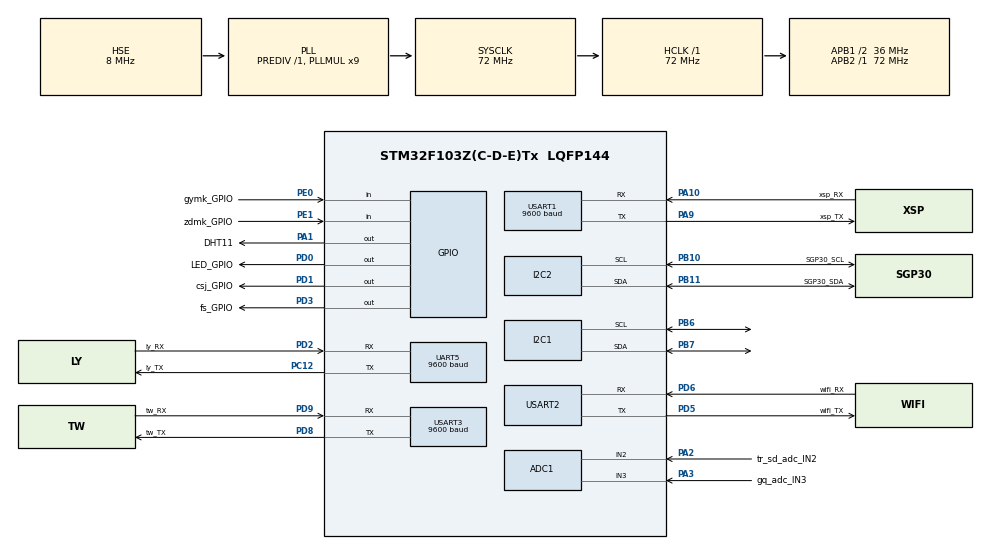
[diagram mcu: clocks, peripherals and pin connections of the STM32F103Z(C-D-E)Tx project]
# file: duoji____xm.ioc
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ADC1.Channel-0\#ChannelRegularConversion=ADC_CHANNEL_2
ADC1.Channel-1\#ChannelRegularConversion=ADC_CHANNEL_3
ADC1.ContinuousConvMode=ENABLE
ADC1.ExternalTrigConv=ADC_SOFTWARE_START
ADC1.NbrOfConversion=2
ADC1.NbrOfConversionFlag=1
ADC1.Rank-0\#ChannelRegularConversion=1
ADC1.Rank-1\#ChannelRegularConversion=2
ADC1.SamplingTime-0\#ChannelRegularConversion=ADC_SAMPLETIME_55CYCLES_5
ADC1.SamplingTime-1\#ChannelRegularConversion=ADC_SAMPLETIME_55CYCLES_5
ADC1.master=1
Dma.ADC1.0.Direction=DMA_PERIPH_TO_MEMORY
Dma.ADC1.0.Instance=DMA1_Channel1
Dma.ADC1.0.MemDataAlignment=DMA_MDATAALIGN_HALFWORD
Dma.ADC1.0.MemInc=DMA_MINC_ENABLE
Dma.ADC1.0.Mode=DMA_NORMAL
Dma.ADC1.0.PeriphDataAlignment=DMA_PDATAALIGN_HALFWORD
Dma.ADC1.0.PeriphInc=DMA_PINC_DISABLE
Dma.ADC1.0.Priority=DMA_PRIORITY_LOW
Dma.Request0=ADC1
FREERTOS.Mutexes01=esp8266_x_01,Dynamic,NULL,Available
FREERTOS.Queues01=Kal_wd,16,float,0,Dynamic,NULL,NULL;Kal_sd,16,float,0,Dynamic,NULL,NULL;Kal_trsd,16,float,0,Dynamic,NULL,NULL;Kal_gq,16,float,0,Dynamic,NULL,NULL;Kal_co2,16,uint16_t,0,Dynamic,NULL,NULL;zw_key,16,uint8_t,0,Dynamic,NULL,NULL;tw_key,16,uint8_t,0,Dynamic,NULL,NULL;zt_fs,16,uint8_t,0,Dynamic,NULL,NULL;zt_bg,16,uint8_t,0,Dynamic,NULL,NULL;zt_sb,16,uint8_t,0,Dynamic,NULL,NULL;tw_fs,16,uint8_t,0,Dynamic,NULL,NULL;tw_bg,16,uint8_t,0,Dynamic,NULL,NULL;tw_sb,16,uint8_t,0,Dynamic,NULL,NULL;ESP8266_fs,16,uint8_t,0,Dynamic,NULL,NULL;ESP8266_bg,16,uint8_t,0,Dynamic,NULL,NULL;ESP8266_sb,16,uint8_t,0,Dynamic,NULL,NULL
FREERTOS.Tasks01=cgq_01,40,1024,StartDefaultTask,Default,NULL,Dynamic,NULL,NULL;ztcl_02,40,1024,StartTask02,Default,NULL,Dynamic,NULL,NULL;usart_03,32,1024,StartTask03,Default,NULL,Dynamic,NULL,NULL;twkz_04,32,1024,StartTask04,Default,NULL,Dynamic,NULL,NULL;ESP8266_05,41,1024,StartTask05,Default,NULL,Dynamic,NULL,NULL;jdq_06,40,256,StartTask06,Default,NULL,Dynamic,NULL,NULL;UI_OLED_07,8,256,StartTask07,Default,NULL,Dynamic,NULL,NULL
FREERTOS.configTOTAL_HEAP_SIZE=40960
Mcu.Family=STM32F1
Mcu.Name=STM32F103Z(C-D-E)Tx
Mcu.Package=LQFP144
NVIC.DMA1_Channel1_IRQn=true\:5\:0\:false\:false\:true\:true\:false\:true\:true
NVIC.PriorityGroup=NVIC_PRIORITYGROUP_4
NVIC.RTC_IRQn=true\:5\:0\:false\:false\:true\:true\:true\:true\:true
NVIC.TIM3_IRQn=true\:5\:0\:false\:false\:true\:true\:true\:true\:true
NVIC.TIM4_IRQn=true\:15\:0\:false\:false\:true\:false\:false\:true\:true
NVIC.TimeBase=TIM4_IRQn
NVIC.TimeBaseIP=TIM4
NVIC.UART5_IRQn=true\:5\:0\:false\:false\:true\:true\:true\:true\:true
NVIC.USART1_IRQn=true\:5\:0\:true\:false\:true\:true\:true\:true\:true
NVIC.USART2_IRQn=true\:5\:0\:false\:false\:true\:true\:true\:true\:true
NVIC.USART3_IRQn=true\:5\:0\:true\:false\:true\:true\:true\:true\:true
OSC_IN.Mode=HSE-External-Oscillator
OSC_IN.Signal=RCC_OSC_IN
OSC_OUT.Mode=HSE-External-Oscillator
OSC_OUT.Signal=RCC_OSC_OUT
PA1.GPIO_Label=DHT11
PA1.Signal=GPIO_Output
PA10.GPIO_Label=xsp_RX
PA10.Mode=Asynchronous
PA10.Signal=USART1_RX
PA13.Mode=Serial_Wire
PA13.Signal=SYS_JTMS-SWDIO
PA14.Mode=Serial_Wire
PA14.Signal=SYS_JTCK-SWCLK
PA2.GPIO_Label=tr_sd_adc_IN2
PA2.Signal=ADCx_IN2
PA3.GPIO_Label=gq_adc_IN3
PA3.Signal=ADCx_IN3
PA9.GPIO_Label=xsp_TX
PA9.Mode=Asynchronous
PA9.Signal=USART1_TX
PB10.GPIO_Label=SGP30_SCL
PB10.Mode=I2C
PB10.Signal=I2C2_SCL
PB11.GPIO_Label=SGP30_SDA
PB11.Mode=I2C
PB11.Signal=I2C2_SDA
PB6.Mode=I2C
PB6.Signal=I2C1_SCL
PB7.Mode=I2C
PB7.Signal=I2C1_SDA
PC12.GPIO_Label=ly_TX
PC12.Mode=Asynchronous
PC12.Signal=UART5_TX
PC14-OSC32_IN.Mode=LSE-External-Oscillator
PC14-OSC32_IN.Signal=RCC_OSC32_IN
PC15-OSC32_OUT.Mode=LSE-External-Oscillator
PC15-OSC32_OUT.Signal=RCC_OSC32_OUT
PD0.GPIO_Label=LED_GPIO
PD0.GPIO_ModeDefaultOutputPP=GPIO_MODE_OUTPUT_OD
PD0.GPIO_PuPd=GPIO_NOPULL
PD0.GPIO_Speed=GPIO_SPEED_FREQ_HIGH
PD0.PinState=GPIO_PIN_SET
PD0.Signal=GPIO_Output
PD1.GPIO_Label=csj_GPIO
PD1.GPIO_ModeDefaultOutputPP=GPIO_MODE_OUTPUT_OD
PD1.GPIO_PuPd=GPIO_NOPULL
PD1.GPIO_Speed=GPIO_SPEED_FREQ_HIGH
PD1.PinState=GPIO_PIN_SET
PD1.Signal=GPIO_Output
PD2.GPIO_Label=ly_RX
PD2.Mode=Asynchronous
PD2.Signal=UART5_RX
PD3.GPIO_Label=fs_GPIO
PD3.GPIO_ModeDefaultOutputPP=GPIO_MODE_OUTPUT_OD
PD3.GPIO_PuPd=GPIO_NOPULL
PD3.PinState=GPIO_PIN_SET
PD3.Signal=GPIO_Output
PD5.GPIO_Label=wifi_TX
PD5.Mode=Asynchronous
PD5.Signal=USART2_TX
PD6.GPIO_Label=wifi_RX
PD6.Mode=Asynchronous
PD6.Signal=USART2_RX
PD8.GPIO_Label=tw_TX
PD8.Mode=Asynchronous
PD8.Signal=USART3_TX
PD9.GPIO_Label=tw_RX
PD9.Mode=Asynchronous
PD9.Signal=USART3_RX
PE0.GPIO_Label=gymk_GPIO
PE0.GPIO_PuPd=GPIO_PULLDOWN
PE0.Signal=GPIO_Input
PE1.GPIO_Label=zdmk_GPIO
PE1.GPIO_PuPd=GPIO_PULLDOWN
PE1.Signal=GPIO_Input
ProjectManager.HeapSize=0x200
ProjectManager.StackSize=0x400
ProjectManager.TargetToolchain=MDK-ARM V5.32
RCC.ADCPresc=RCC_ADCPCLK2_DIV6
RCC.AHBFreq_Value=72000000
RCC.APB1CLKDivider=RCC_HCLK_DIV2
RCC.APB1Freq_Value=36000000
RCC.APB1TimFreq_Value=72000000
RCC.APB2Freq_Value=72000000
RCC.APB2TimFreq_Value=72000000
RCC.HCLKFreq_Value=72000000
RCC.PLLMUL=RCC_PLL_MUL9
RCC.PLLSourceVirtual=RCC_PLLSOURCE_HSE
RCC.SYSCLKFreq_VALUE=72000000
RCC.SYSCLKSource=RCC_SYSCLKSOURCE_PLLCLK
RCC.USBFreq_Value=72000000
RTC.Date=24
RTC.Hours=4
RTC.Minutes=37
RTC.Month=RTC_MONTH_APRIL
RTC.WeekDay=RTC_WEEKDAY_THURSDAY
RTC.Year=21
SH.ADCx_IN2.0=ADC1_IN2,IN2
SH.ADCx_IN3.0=ADC1_IN3,IN3
TIM2.Prescaler=72-1
TIM3.AutoReloadPreload=TIM_AUTORELOAD_PRELOAD_ENABLE
TIM3.Period=9999
TIM3.Prescaler=7199
UART5.BaudRate=9600
UART5.VirtualMode=Asynchronous
USART1.BaudRate=9600
USART1.VirtualMode=VM_ASYNC
USART2.VirtualMode=VM_ASYNC
USART3.BaudRate=9600
USART3.VirtualMode=VM_ASYNC
VP_FREERTOS_VS_CMSIS_V2.Mode=CMSIS_V2
VP_RTC_No_RTC_Output.Mode=RTC_OUT_NO
VP_RTC_VS_RTC_Activate.Mode=RTC_Enabled
VP_RTC_VS_RTC_Calendar.Mode=RTC_Calendar
VP_SYS_VS_tim4.Mode=TIM4
VP_TIM2_VS_ClockSourceINT.Mode=Internal
VP_TIM3_VS_ClockSourceINT.Mode=Internal
board=custom

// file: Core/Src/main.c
/* USER CODE BEGIN Header */
/**
  ******************************************************************************
  * @file           : main.c
  * @brief          : Main program body
  ******************************************************************************
  * @attention
  *
  * Copyright (c) 2024 STMicroelectronics.
  * All rights reserved.
  *
  * This software is licensed under terms that can be found in the LICENSE file
  * in the root directory of this software component.
  * If no LICENSE file comes with this software, it is provided AS-IS.
  *
  ******************************************************************************
  */

/* USER CODE END Header */
#include "main.h"
#include "cmsis_os.h"
#include "adc.h"
#include "dma.h"
#include "i2c.h"
#include "rtc.h"
#include "tim.h"
#include "usart.h"
#include "gpio.h"

/* USER CODE BEGIN Includes */
#include "oled.h"
#include "wifi.h"
#include "tjc_usart_hmi.h"
#include "stdio.h"
#include "dht11.h"
#include "adc_2.h"
#include "sgp30.h"
#include "jdq.h"
#include "string.h"
#include "stm32f1xx_hal_pwr.h"
#include "stm32f1xx_hal_rtc.h"
#include  <stdlib.h>
#include <Kal_lb.h>
#include <math.h>
//#include <algorithm>
#define FRAME_LENGTH 7
/* USER CODE END Includes */

/* USER CODE BEGIN PD */

void SystemClock_Config(void);
void MX_FREERTOS_Init(void);
/* USER CODE BEGIN PFP */

/* USER CODE END PD */

void SystemClock_Config(void);
void MX_FREERTOS_Init(void);
/* USER CODE BEGIN PFP */

/* USER CODE END PD */

/* Private macro -------------------------------------------------------------*/
/* USER CODE BEGIN PM */

/* USER CODE END PM */

/* Private variables ---------------------------------------------------------*/

/* USER CODE BEGIN PV */

/* USER CODE END PV */

/* Private function prototypes -----------------------------------------------*/
void SystemClock_Config(void);
void MX_FREERTOS_Init(void);
/* USER CODE BEGIN PFP */

/* USER CODE END PD */

/* Private macro -------------------------------------------------------------*/
/* USER CODE BEGIN PM */

/* USER CODE END PM */

/* Private variables ---------------------------------------------------------*/

/* USER CODE BEGIN PV */

/* USER CODE END PV */

/* Private function prototypes -----------------------------------------------*/
void SystemClock_Config(void);
void MX_FREERTOS_Init(void);
/* USER CODE BEGIN PFP */

/* USER CODE END PD */

/* Private macro -------------------------------------------------------------*/
/* USER CODE BEGIN PM */

/* USER CODE END PM */

/* Private variables ---------------------------------------------------------*/

/* USER CODE BEGIN PV */

/* USER CODE END PV */

/* Private function prototypes -----------------------------------------------*/
void SystemClock_Config(void);
void MX_FREERTOS_Init(void);
/* USER CODE BEGIN PFP */

/* USER CODE END PD */

/* Private macro -------------------------------------------------------------*/
/* USER CODE BEGIN PM */

/* USER CODE END PM */

/* Private variables ---------------------------------------------------------*/

/* USER CODE BEGIN PV */

/* USER CODE END PV */

/* Private function prototypes -----------------------------------------------*/
void SystemClock_Config(void);
void MX_FREERTOS_Init(void);
/* USER CODE BEGIN PFP */

/* USER CODE END PD */

/* Private macro -------------------------------------------------------------*/
/* USER CODE BEGIN PM */

/* USER CODE END PM */

/* Private variables ---------------------------------------------------------*/

/* USER CODE BEGIN PV */

/* USER CODE END PV */

/* Private function prototypes -----------------------------------------------*/
void SystemClock_Config(void);
void MX_FREERTOS_Init(void);
/* USER CODE BEGIN PFP */

/* USER CODE END PD */

/* Private macro -------------------------------------------------------------*/
/* USER CODE BEGIN PM */

/* USER CODE END PM */

/* Private variables ---------------------------------------------------------*/

/* USER CODE BEGIN PV */

/* USER CODE END PV */

/* Private function prototypes -----------------------------------------------*/
void SystemClock_Config(void);
void MX_FREERTOS_Init(void);
/* USER CODE BEGIN PFP */

/* USER CODE END PD */

/* Private macro -------------------------------------------------------------*/
/* USER CODE BEGIN PM */

/* USER CODE END PM */

/* Private variables ---------------------------------------------------------*/

/* USER CODE BEGIN PV */

/* USER CODE END PV */

/* Private function prototypes -----------------------------------------------*/

/* USER CODE END PFP */

int main(void)
{

  /* MCU Configuration--------------------------------------------------------*/

  /* Reset of all peripherals, Initializes the Flash interface and the Systick. */
  HAL_Init();

  /* Configure the system clock */
  SystemClock_Config();

  /* Initialize all configured peripherals */
  MX_GPIO_Init();
  MX_DMA_Init();
  MX_USART2_UART_Init();
  MX_USART1_UART_Init();
  MX_I2C1_Init();
  MX_TIM2_Init();
  MX_ADC1_Init();
  MX_I2C2_Init();
  MX_USART3_UART_Init();
  MX_TIM3_Init();
  MX_RTC_Init();
  MX_UART5_Init();
  /* USER CODE BEGIN 2 */
  //HAL_TIM_Base_Start_IT(&htim3);//打开定时器3中断

	//  DHT11_Init();//初始化温湿度传感器
	//  HAL_ADCEx_Calibration_Start(&hadc1 );//adc校准
  //  HAL_ADC_Start_DMA(&hadc1, (uint32_t *)My_adcData, adc_max);//光敏和土壤湿度传感器
	//  sgp30_init();//sgp30初始化

	//  HAL_UART_Init(&huart1);

	 //ESP8266_Init();//热点连接
   //check_and_reboot();//重启函数(稳定连接服务器（2次重新连接）)

  /* USER CODE END 2 */

  /* Init scheduler */
  osKernelInitialize();

  /* Call init function for freertos objects (in cmsis_os2.c) */
  MX_FREERTOS_Init();

  /* Start scheduler */
  osKernelStart();

  /* We should never get here as control is now taken by the scheduler */

  /* Infinite loop */
  while (1)
  {

    /* USER CODE BEGIN 3 */
   //		time++;

	 // cgq_sz();//传感器读取函数(处理分析)

		//ck_fs(dsq_fs,zt_fs);//发送串口消息（ESP8266和天问模块）

		//tw_kz(tw_bz);//天问模块控制

    //wifi_cl((char*)wifi_string);//物联网WiFi数据处理

		//jdq_pos_wifi(sb_num,bg_num,fs_num);//继电器控制开关

		//OLED_UI();//OLED屏显

  }
  /* USER CODE END 3 */
}

void SystemClock_Config(void)
{
  RCC_OscInitTypeDef RCC_OscInitStruct = {0};
  RCC_ClkInitTypeDef RCC_ClkInitStruct = {0};
  RCC_PeriphCLKInitTypeDef PeriphClkInit = {0};

  /** Initializes the RCC Oscillators according to the specified parameters
  * in the RCC_OscInitTypeDef structure.
  */
  RCC_OscInitStruct.OscillatorType = RCC_OSCILLATORTYPE_LSI|RCC_OSCILLATORTYPE_HSE;
  RCC_OscInitStruct.HSEState = RCC_HSE_ON;
  RCC_OscInitStruct.HSEPredivValue = RCC_HSE_PREDIV_DIV1;
  RCC_OscInitStruct.HSIState = RCC_HSI_ON;
  RCC_OscInitStruct.LSIState = RCC_LSI_ON;
  RCC_OscInitStruct.PLL.PLLState = RCC_PLL_ON;
  RCC_OscInitStruct.PLL.PLLSource = RCC_PLLSOURCE_HSE;
  RCC_OscInitStruct.PLL.PLLMUL = RCC_PLL_MUL9;
  if (HAL_RCC_OscConfig(&RCC_OscInitStruct) != HAL_OK)
  {
    Error_Handler();
  }

  /** Initializes the CPU, AHB and APB buses clocks
  */
  RCC_ClkInitStruct.ClockType = RCC_CLOCKTYPE_HCLK|RCC_CLOCKTYPE_SYSCLK
                              |RCC_CLOCKTYPE_PCLK1|RCC_CLOCKTYPE_PCLK2;
  RCC_ClkInitStruct.SYSCLKSource = RCC_SYSCLKSOURCE_PLLCLK;
  RCC_ClkInitStruct.AHBCLKDivider = RCC_SYSCLK_DIV1;
  RCC_ClkInitStruct.APB1CLKDivider = RCC_HCLK_DIV2;
  RCC_ClkInitStruct.APB2CLKDivider = RCC_HCLK_DIV1;

  if (HAL_RCC_ClockConfig(&RCC_ClkInitStruct, FLASH_LATENCY_2) != HAL_OK)
  {
    Error_Handler();
  }
  PeriphClkInit.PeriphClockSelection = RCC_PERIPHCLK_RTC|RCC_PERIPHCLK_ADC;
  PeriphClkInit.RTCClockSelection = RCC_RTCCLKSOURCE_LSI;
  PeriphClkInit.AdcClockSelection = RCC_ADCPCLK2_DIV6;
  if (HAL_RCCEx_PeriphCLKConfig(&PeriphClkInit) != HAL_OK)
  {
    Error_Handler();
  }
}

void HAL_TIM_PeriodElapsedCallback(TIM_HandleTypeDef *htim)
{
  if (htim->Instance == TIM4) {
    HAL_IncTick();
  }
  /* USER CODE BEGIN Callback 1 */
  // if(htim == &htim3)
	// {
	// 	dsj_tim3++;
	// 	if(dsj_tim3>50)
	// 	{
	// 	 dsq_fs=1;
	// 	 dsj_tim3=0;
	// 	}
	// 	else if(dsj_tim3==30)
	// 	{
	// 	 dsq_fs=2;
	// 	}
	// }
  /* USER CODE END Callback 1 */
}

void Error_Handler(void)
{
  __disable_irq();
  while (1)
  {
  }
}

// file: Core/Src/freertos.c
/* USER CODE BEGIN Header */
/**
  ******************************************************************************
  * File Name          : freertos.c
  * Description        : Code for freertos applications
  ******************************************************************************
  * @attention
  *
  * Copyright (c) 2025 STMicroelectronics.
  * All rights reserved.
  *
  * This software is licensed under terms that can be found in the LICENSE file
  * in the root directory of this software component.
  * If no LICENSE file comes with this software, it is provided AS-IS.
  *
  ******************************************************************************
  */
/* USER CODE END Header */

#include "FreeRTOS.h"
#include "task.h"
#include "main.h"
#include "cmsis_os.h"

/* USER CODE BEGIN Includes */
#include "oled.h"
#include "wifi.h"
#include "tjc_usart_hmi.h"
#include "stdio.h"
#include "dht11.h"
#include "adc_2.h"
#include "sgp30.h"
#include "jdq.h"
#include "string.h"
#include "stm32f1xx_hal_pwr.h"
#include "stm32f1xx_hal_rtc.h"
#include  <stdlib.h>
#include <Kal_lb.h>
#include <math.h>

/* USER CODE END Includes */

/* USER CODE BEGIN PTD */
uint8_t wifi_string;// WiFi模块串口接收数据
uint8_t tw_fs[10];
char* wifi_string2 = NULL;
uint8_t tw_num[4];
uint8_t sb_num2=0,bg_num2=0,fs_num2=0;//水泵，补光灯，风扇标志位
uint8_t sb_num_yy=0,bg_num_yy=0,fs_num_yy=0,sb_num_yy2=0,bg_num_yy2=0,fs_num_yy2=0,yy_num2=0;//远端、语音控制标志位

KalmanFilter wd_kal,sd_kal,tr_sd_kal,CO2_kal,gq_kal;//卡尔曼滤波参�?

float wd_2,sd_2,tr_sd_2,gq_2;//卡尔曼滤波后的�??
uint16_t CO2_2;//卡尔曼滤波后的�??

uint8_t CO2_NO=0;//预热完成标准�?
uint8_t yy_num=0; //AI语音聊天模式标志�?

uint8_t esp8266_key=0;//WiFi连接状�?�标志位

// 环形缓冲区结构定�?
#define UART_BUFFER_SIZE 512
typedef struct {
    uint8_t buffer[UART_BUFFER_SIZE];// 缓冲�?
    volatile uint16_t head;// 写指�?
    volatile uint16_t tail;// 读指�?
    volatile uint8_t overflow;// 溢出标志
    volatile bool message_ready;// 消息就绪标志
} ESP8266_RingBuffer;
static ESP8266_RingBuffer esp8266_rx_buffer = {0};// 初始化缓冲区
static bool json_processing_busy = false;// JSON处理忙标�?

/* USER CODE END PTD */

/* USER CODE BEGIN PD */
void extract_switch_value(const char *json_str, const char *field,uint8_t*num);
void tw_cl(char *tw);//天问串口处理

void SystemClock_Config(void);
void MX_FREERTOS_Init(void);
/* USER CODE BEGIN PFP */
bool gy_pos(void);//人体感应模块
void cgq_sz(void);//传感器读数�??
void OLED_UI(void);//UI界面函数
bool wifi_cl(char *json_str);//WiFi数据处理函数
void ck_fs(uint8_t num);//发�?�串口数�?
bool zd_pos(void);//震动感应模块
void tw_kz(uint8_t*tw);//天问控制函数
void tw_cl2(void);//天问模块字符串发送处�?
void zw_zt_cl(float wd_2_z,float tr_sd_2_z,float gq_2_z,uint16_t CO2_2_z,uint8_t zt_fs);//植物状�?�检测函数（�?测环境数据）
void Kal_Init(uint16_t wd,uint16_t sd,uint16_t TVOC,uint16_t CO2);//卡尔曼滤波初始化
void Kal_pos(uint16_t wd,uint16_t sd,uint16_t TVOC,uint16_t CO2);//卡尔曼滤�?
bool extract_json_from_buffer(char *buffer, size_t buffer_size);

void HAL_UART_TxCpltCallback(UART_HandleTypeDef *huart)
{
    if (huart->Instance == USART2)//wifi发�??
    {
      // 发�?�完成，可以在这里处理后续�?�辑
    }
		if(huart->Instance == USART1)//显示屏发�?
		{
			// 发�?�完成，可以在这里处理后续�?�辑
		}
		if(huart->Instance == USART3)//天问语言模块
		{

		}
}
// 接收完成回调函数
void HAL_UART_RxCpltCallback(UART_HandleTypeDef *huart)
{
     if (huart->Instance == USART2) // ESP8266串口
    {
        // 保存接收到的�?个字节到环形缓冲�?
        uint16_t next_head = (esp8266_rx_buffer.head + 1) % UART_BUFFER_SIZE;

        if (next_head != esp8266_rx_buffer.tail) { // 缓冲区未�?
            esp8266_rx_buffer.buffer[esp8266_rx_buffer.head] = wifi_string;
            esp8266_rx_buffer.head = next_head;

            // �?测JSON消息结束�? ('}')
            if (esp8266_rx_buffer.buffer[esp8266_rx_buffer.head - 1] == '}') {
                // 标记有完整消息可以处�?
                esp8266_rx_buffer.message_ready = true;// 设置消息就绪标志
            }
        } else {
            // 缓冲区溢�?
            esp8266_rx_buffer.overflow = 1;
        }

        // 继续接收下一个字�?
        HAL_UART_Receive_IT(&huart2, &wifi_string, 1); // 改为单字节接�?
    }
		if(huart->Instance == USART3)//接受天问模块的信�?
		{

	    tw_cl((char*)tw_num);//信息处理
			HAL_UART_Receive_IT(&huart3, tw_num, 3);//初始化接�?
		}
}

/* USER CODE END PD */

/* Definitions for cgq_01 */
osThreadId_t cgq_01Handle;
const osThreadAttr_t cgq_01_attributes = {
  .name = "cgq_01",
  .stack_size = 1024 * 4,
  .priority = (osPriority_t) osPriorityHigh,
};
/* Definitions for ztcl_02 */
osThreadId_t ztcl_02Handle;
const osThreadAttr_t ztcl_02_attributes = {
  .name = "ztcl_02",
  .stack_size = 1024 * 4,
  .priority = (osPriority_t) osPriorityHigh,
};
/* Definitions for usart_03 */
osThreadId_t usart_03Handle;
const osThreadAttr_t usart_03_attributes = {
  .name = "usart_03",
  .stack_size = 1024 * 4,
  .priority = (osPriority_t) osPriorityAboveNormal,
};
/* Definitions for twkz_04 */
osThreadId_t twkz_04Handle;
const osThreadAttr_t twkz_04_attributes = {
  .name = "twkz_04",
  .stack_size = 1024 * 4,
  .priority = (osPriority_t) osPriorityAboveNormal,
};
/* Definitions for ESP8266_05 */
osThreadId_t ESP8266_05Handle;
const osThreadAttr_t ESP8266_05_attributes = {
  .name = "ESP8266_05",
  .stack_size = 1024 * 4,
  .priority = (osPriority_t) osPriorityHigh1,
};
/* Definitions for jdq_06 */
osThreadId_t jdq_06Handle;
const osThreadAttr_t jdq_06_attributes = {
  .name = "jdq_06",
  .stack_size = 256 * 4,
  .priority = (osPriority_t) osPriorityHigh,
};
/* Definitions for UI_OLED_07 */
osThreadId_t UI_OLED_07Handle;
const osThreadAttr_t UI_OLED_07_attributes = {
  .name = "UI_OLED_07",
  .stack_size = 256 * 4,
  .priority = (osPriority_t) osPriorityLow,
};
/* Definitions for Kal_wd */
osMessageQueueId_t Kal_wdHandle;
const osMessageQueueAttr_t Kal_wd_attributes = {
  .name = "Kal_wd"
};
/* Definitions for Kal_sd */
osMessageQueueId_t Kal_sdHandle;
const osMessageQueueAttr_t Kal_sd_attributes = {
  .name = "Kal_sd"
};
/* Definitions for Kal_trsd */
osMessageQueueId_t Kal_trsdHandle;
const osMessageQueueAttr_t Kal_trsd_attributes = {
  .name = "Kal_trsd"
};
/* Definitions for Kal_gq */
osMessageQueueId_t Kal_gqHandle;
const osMessageQueueAttr_t Kal_gq_attributes = {
  .name = "Kal_gq"
};
/* Definitions for Kal_co2 */
osMessageQueueId_t Kal_co2Handle;
const osMessageQueueAttr_t Kal_co2_attributes = {
  .name = "Kal_co2"
};
/* Definitions for zw_key */
osMessageQueueId_t zw_keyHandle;
const osMessageQueueAttr_t zw_key_attributes = {
  .name = "zw_key"
};
/* Definitions for tw_key */
osMessageQueueId_t tw_keyHandle;
const osMessageQueueAttr_t tw_key_attributes = {
  .name = "tw_key"
};
/* Definitions for zt_fs */
osMessageQueueId_t zt_fsHandle;
const osMessageQueueAttr_t zt_fs_attributes = {
  .name = "zt_fs"
};
/* Definitions for zt_bg */
osMessageQueueId_t zt_bgHandle;
const osMessageQueueAttr_t zt_bg_attributes = {
  .name = "zt_bg"
};
/* Definitions for zt_sb */
osMessageQueueId_t zt_sbHandle;
const osMessageQueueAttr_t zt_sb_attributes = {
  .name = "zt_sb"
};
/* Definitions for tw_fs */
osMessageQueueId_t tw_fsHandle;
const osMessageQueueAttr_t tw_fs_attributes = {
  .name = "tw_fs"
};
/* Definitions for tw_bg */
osMessageQueueId_t tw_bgHandle;
const osMessageQueueAttr_t tw_bg_attributes = {
  .name = "tw_bg"
};
/* Definitions for tw_sb */
osMessageQueueId_t tw_sbHandle;
const osMessageQueueAttr_t tw_sb_attributes = {
  .name = "tw_sb"
};
/* Definitions for ESP8266_fs */
osMessageQueueId_t ESP8266_fsHandle;
const osMessageQueueAttr_t ESP8266_fs_attributes = {
  .name = "ESP8266_fs"
};
/* Definitions for ESP8266_bg */
osMessageQueueId_t ESP8266_bgHandle;
const osMessageQueueAttr_t ESP8266_bg_attributes = {
  .name = "ESP8266_bg"
};
/* Definitions for ESP8266_sb */
osMessageQueueId_t ESP8266_sbHandle;
const osMessageQueueAttr_t ESP8266_sb_attributes = {
  .name = "ESP8266_sb"
};
/* Definitions for esp8266_x_01 */
osMutexId_t esp8266_x_01Handle;
const osMutexAttr_t esp8266_x_01_attributes = {
  .name = "esp8266_x_01"
};

void StartDefaultTask(void *argument);
void StartTask02(void *argument);
void StartTask03(void *argument);
void StartTask04(void *argument);
void StartTask05(void *argument);
void StartTask06(void *argument);
void StartTask07(void *argument);

void MX_FREERTOS_Init(void); /* (MISRA C 2004 rule 8.1) */

void MX_FREERTOS_Init(void) {
  /* Create the mutex(es) */
  /* creation of esp8266_x_01 */
  esp8266_x_01Handle = osMutexNew(&esp8266_x_01_attributes);

  /* Create the queue(s) */
  /* creation of Kal_wd */
  Kal_wdHandle = osMessageQueueNew (16, sizeof(float), &Kal_wd_attributes);

  /* creation of Kal_sd */
  Kal_sdHandle = osMessageQueueNew (16, sizeof(float), &Kal_sd_attributes);

  /* creation of Kal_trsd */
  Kal_trsdHandle = osMessageQueueNew (16, sizeof(float), &Kal_trsd_attributes);

  /* creation of Kal_gq */
  Kal_gqHandle = osMessageQueueNew (16, sizeof(float), &Kal_gq_attributes);

  /* creation of Kal_co2 */
  Kal_co2Handle = osMessageQueueNew (16, sizeof(uint16_t), &Kal_co2_attributes);

  /* creation of zw_key */
  zw_keyHandle = osMessageQueueNew (16, sizeof(uint8_t), &zw_key_attributes);

  /* creation of tw_key */
  tw_keyHandle = osMessageQueueNew (16, sizeof(uint8_t), &tw_key_attributes);

  /* creation of zt_fs */
  zt_fsHandle = osMessageQueueNew (16, sizeof(uint8_t), &zt_fs_attributes);

  /* creation of zt_bg */
  zt_bgHandle = osMessageQueueNew (16, sizeof(uint8_t), &zt_bg_attributes);

  /* creation of zt_sb */
  zt_sbHandle = osMessageQueueNew (16, sizeof(uint8_t), &zt_sb_attributes);

  /* creation of tw_fs */
  tw_fsHandle = osMessageQueueNew (16, sizeof(uint8_t), &tw_fs_attributes);

  /* creation of tw_bg */
  tw_bgHandle = osMessageQueueNew (16, sizeof(uint8_t), &tw_bg_attributes);

  /* creation of tw_sb */
  tw_sbHandle = osMessageQueueNew (16, sizeof(uint8_t), &tw_sb_attributes);

  /* creation of ESP8266_fs */
  ESP8266_fsHandle = osMessageQueueNew (16, sizeof(uint8_t), &ESP8266_fs_attributes);

  /* creation of ESP8266_bg */
  ESP8266_bgHandle = osMessageQueueNew (16, sizeof(uint8_t), &ESP8266_bg_attributes);

  /* creation of ESP8266_sb */
  ESP8266_sbHandle = osMessageQueueNew (16, sizeof(uint8_t), &ESP8266_sb_attributes);

  /* Create the thread(s) */
  /* creation of cgq_01 */
  cgq_01Handle = osThreadNew(StartDefaultTask, NULL, &cgq_01_attributes);

  /* creation of ztcl_02 */
  ztcl_02Handle = osThreadNew(StartTask02, NULL, &ztcl_02_attributes);

  /* creation of usart_03 */
  usart_03Handle = osThreadNew(StartTask03, NULL, &usart_03_attributes);

  /* creation of twkz_04 */
  twkz_04Handle = osThreadNew(StartTask04, NULL, &twkz_04_attributes);

  /* creation of ESP8266_05 */
  ESP8266_05Handle = osThreadNew(StartTask05, NULL, &ESP8266_05_attributes);

  /* creation of jdq_06 */
  jdq_06Handle = osThreadNew(StartTask06, NULL, &jdq_06_attributes);

  /* creation of UI_OLED_07 */
  UI_OLED_07Handle = osThreadNew(StartTask07, NULL, &UI_OLED_07_attributes);

}

/* USER CODE BEGIN Header_StartDefaultTask */
/**
  * @brief  任务1：传感器处理（读�?+卡尔曼滤波）-------------------------------------------------------任务1-----------------------------------------------------------------
  * @param  argument: Not used
  * @retval None
  */
/* USER CODE END Header_StartDefaultTask */
void StartDefaultTask(void *argument)
{
  /* USER CODE BEGIN StartDefaultTask */

   DHT11_Init();//初始化温湿度传感�?
	 HAL_ADCEx_Calibration_Start(&hadc1 );//adc校准
   HAL_ADC_Start_DMA(&hadc1, (uint32_t *)My_adcData, adc_max);//光敏和土壤湿度传感器
	 sgp30_init();//sgp30初始�?
   Kal_Init(25, 60, 200, 500);//卡尔曼滤波初始化( 初始值：温度25度，湿度60%，TVOC200ppb，CO2 500ppm )

  /* Infinite loop */
  for(;;)
  {
    cgq_sz();//传感器读取函�?(处理分析+卡尔曼滤�?)
    osDelay(5);
  }
  /* USER CODE END StartDefaultTask */
}

/* USER CODE BEGIN Header_StartTask02 */
/**
* @brief 任务2：植物状态处理（环境数据+自动控制+串口屏控制）------------------------------------------任务2-------------------------------------------------------------------
* @param argument: Not used
* @retval None
*/
/* USER CODE END Header_StartTask02 */
void StartTask02(void *argument)
{
  /* USER CODE BEGIN StartTask02 */
  static float kal_wd_2=0,kal_sd_2=0,kal_tr_sd_2=0,kal_gq_2=0;//卡尔曼滤波后的�??
  static uint16_t kal_CO2_2=0;//卡尔曼滤波后的�??
  static uint8_t zt_fs=0XFF;//植物状�?�码
  HAL_UART_Init(&huart1);
  /* Infinite loop */
  for(;;)
  {
    if(osMessageQueueGet(Kal_wdHandle, &kal_wd_2, NULL, 100 ) == osOK && (osMessageQueueGet(Kal_sdHandle, &kal_sd_2, NULL, 100 ) == osOK)
       && (osMessageQueueGet(Kal_trsdHandle, &kal_tr_sd_2, NULL, 100 ) == osOK) && (osMessageQueueGet(Kal_gqHandle, &kal_gq_2, NULL, 100 ) == osOK)
       && (osMessageQueueGet(Kal_co2Handle, &kal_CO2_2, NULL, 100 ) == osOK)){
      zw_zt_cl(kal_wd_2,kal_sd_2,kal_gq_2,kal_CO2_2,zt_fs);//植物状�?�检测函数（�?测环境数据）
    }
    osDelay(5);
  }
  /* USER CODE END StartTask02 */
}

/* USER CODE BEGIN Header_StartTask03 */
/**
* @brief 发�?�串口信息（ESP8266和天问模块）------------------------------------------------任务3-------------------------------------------------------------------
* @param argument: Not used
* @retval None
*/
/* USER CODE END Header_StartTask03 */
void StartTask03(void *argument)
{
  /* USER CODE BEGIN StartTask03 */
   static uint8_t zt_fs=0;//植物状�?�码

  /* Infinite loop */
  for(;;)
  {
   osMessageQueueGet(zw_keyHandle, &zt_fs, NULL, 10 );//----获取植物状�?�码
   ck_fs(zt_fs);//发�?�串口消息（ESP8266和天问模块）
   osDelay(10);
  }
  /* USER CODE END StartTask03 */
}

/* USER CODE BEGIN Header_StartTask04 */
/**
* @brief 天问模块语言控制（同时更新后端数据）----------------------------------------------------任务4-------------------------------------------------------------------
* @param argument: Not used
* @retval None
*/
/* USER CODE END Header_StartTask04 */
void StartTask04(void *argument)
{
  /* USER CODE BEGIN StartTask04 */
  static uint8_t tw_num2=0;//天问控制�?
  HAL_UART_Init(&huart3);  //天问模块
	HAL_UART_Receive_IT(&huart3, tw_num, 3);//初始化接�?

  /* Infinite loop */
  for(;;)
  {
    if(osMessageQueueGet(tw_keyHandle, &tw_num2, NULL, 0) == osOK){//----获取天问控制�?
      tw_kz(&tw_num2);//天问模块控制
    }
    osDelay(5);
  }
  /* USER CODE END StartTask04 */
}

/* USER CODE BEGIN Header_StartTask05 */
/**
* @brief esp8266模块物联网json信息处理--------------------------------------------------------------任务5-------------------------------------------------------------------
* @param argument: Not used
* @retval None
*/
/* USER CODE END Header_StartTask05 */
void StartTask05(void *argument)
{
  /* USER CODE BEGIN StartTask05 */

  osThreadSuspend(UI_OLED_07Handle);// 暂停OLED显示任务---------------------------------------------调试�?-------------------------------------------------------

  HAL_UART_Init(&huart2);  // WiFi模块
  HAL_UART_Receive_IT(&huart2, &wifi_string, 1);//初始化接�?---待修�?
  osMutexAcquire(esp8266_x_01Handle, osWaitForever); // 上锁，确保物联网先连�?
  ESP8266_Init();//热点连接
  osMutexRelease(esp8266_x_01Handle);// 解锁

  esp8266_rx_buffer.head = 0;// 初始化缓冲区指针
  esp8266_rx_buffer.tail = 0;// 初始化缓冲区指针
  esp8266_rx_buffer.overflow = 0;// 初始化缓冲区状�??
  esp8266_rx_buffer.message_ready = false;// 初始化缓冲区状�??

  esp8266_key=1;//WiFi连接成功标志�?

  // JSON解析用临时缓冲区
   static char json_buffer[384] = {0};

  /* Infinite loop */
  for(;;)
  {
    // �?查是否有完整JSON�?要处�?
        if (esp8266_rx_buffer.message_ready && !json_processing_busy) {
            json_processing_busy = true;

            if (extract_json_from_buffer(json_buffer, sizeof(json_buffer))) {
                wifi_cl(json_buffer);
            }

            json_processing_busy = false;
        }

        // �?查缓冲区溢出
        if (esp8266_rx_buffer.overflow) {
            // 清空缓冲区，重新�?�?
            esp8266_rx_buffer.head = 0;
            esp8266_rx_buffer.tail = 0;
            esp8266_rx_buffer.overflow = 0;
            esp8266_rx_buffer.message_ready = false;
        }
    osDelay(5);
  }
  /* USER CODE END StartTask05 */
}

/* USER CODE BEGIN Header_StartTask06 */
/**
* @brief 继电器控制任务（风扇、水泵�?�补光灯�?----------------------------------------------------任务6-------------------------------------------------------------------
* @param argument: Not used
* @retval None
*/
/* USER CODE END Header_StartTask06 */
void StartTask06(void *argument)
{
  /* USER CODE BEGIN StartTask06 */
  static uint8_t sb_num=0,bg_num=0,fs_num=0;//水泵，补光灯，风扇标志位
  static uint8_t sb_num_yy_2=0,bg_num_yy_2=0,fs_num_yy_2=0;//远端、语音控制标志位(获取�?)
  static bool yy_key=false;//语音控制标志�?(变化�?)

  /* Infinite loop */
  for(;;)
  {
   if(yy_num2==1){//远程端高于本地端
    if(osMessageQueueGet(ESP8266_sbHandle, &sb_num_yy_2, NULL, 0) == osOK){
      yy_key=true;
    }
    if(osMessageQueueGet(ESP8266_bgHandle, &bg_num_yy_2, NULL, 0) == osOK){
      yy_key=true;
    }
    if(osMessageQueueGet(ESP8266_fsHandle, &fs_num_yy_2, NULL, 0) == osOK){
      yy_key=true;
    }
    if(osMessageQueueGet(tw_sbHandle, &sb_num_yy_2, NULL, 0) == osOK){
      yy_key=true;
    }
    if(osMessageQueueGet(tw_bgHandle, &bg_num_yy_2, NULL, 0) == osOK){
      yy_key=true;
    }
    if(osMessageQueueGet(tw_fsHandle, &fs_num_yy_2, NULL, 0) == osOK){
      yy_key=true;
    }
   }
   else{//本地端高于远程端
    if(osMessageQueueGet(zt_sbHandle, &sb_num, NULL, 0) == osOK){
      yy_key=true;
    }
    if(osMessageQueueGet(zt_bgHandle, &bg_num, NULL, 0) == osOK){
      yy_key=true;
    }
    if(osMessageQueueGet(zt_fsHandle, &fs_num, NULL, 0) == osOK){
      yy_key=true;
    }
   }

  if(yy_key==true){//有变化的时�?�才执行
    yy_key=false;
    jdq_pos_wifi(sb_num,bg_num,fs_num,&yy_num2,sb_num_yy,bg_num_yy,fs_num_yy);//继电器控制开�?
    }

    osDelay(5);
  }
  /* USER CODE END StartTask06 */
}

/* USER CODE BEGIN Header_StartTask07 */
/**
* @brief UI_OLED显示任务（OLED屏幕显示�?------------------------------------------------------------任务7-------------------------------------------------------------------
* @param argument: Not used
* @retval None
*/
/* USER CODE END Header_StartTask07 */
void StartTask07(void *argument)
{
  /* USER CODE BEGIN StartTask07 */

   OLED_Init();
	 OLED_Clear();
  /* Infinite loop */
  for(;;)
  {
    OLED_UI();//UI界面函数
    osDelay(5);
  }
  /* USER CODE END StartTask07 */
}

/* USER CODE BEGIN Application */
//--------------------------------------------------------------------------------------------------------------------------------------------↓函数区-------------------------------------------------------------------------------------------------------------------------------
/**
 * @description:读取传感器数值函数（读取、滤波�?�调节感应）
 */
void cgq_sz(void)
{
    static uint16_t wd,sd,TVOC,CO2;
  	DHT11_Read_Data(&wd,&sd);//温湿度检�?
		ADC_dispose();//adc处理
		sgp30_read(&CO2, &TVOC);//TVOC和CO2浓度�?�?
	  Kal_pos(wd,sd,TVOC,CO2);//卡尔曼滤�?
}

/**
 * @description:卡尔曼滤波初始化函数(�?有传感器)
 */
void Kal_Init(uint16_t wd,uint16_t sd,uint16_t TVOC,uint16_t CO2)
{
  KalmanFilter_Init(&wd_kal,0.1,1.3,(float)(wd >> 8) + (float)(wd & 0xFF) / 256.0f,1);
	KalmanFilter_Init(&sd_kal,0.1,1.3,(float)(sd >> 8) + (float)(sd & 0xFF) / 256.0f,1);
  KalmanFilter_Init(&tr_sd_kal,0.1,1.3,tr_sd,1);
	KalmanFilter_Init(&gq_kal,0.1,4,gq,1);

	 // CO2传感器专用参数（动�?�噪声版本）
  KalmanFilter_Init(&CO2_kal,
                    10.0f,    // 初始q较大以�?�应上升阶段
                    2500.0f,  // r=502（基�?噪声�?
                    (CO2 < 400) ? 400.0f : (float)CO2, // 强制不低�?400ppm
                    10000.0f); // 初始高不确定�?
}
/**
 * @description:卡尔曼滤波函�?(�?有传感器)
 */
void Kal_pos(uint16_t wd,uint16_t sd,uint16_t TVOC,uint16_t CO2)
{

  wd_2 = KalmanFilter_Update(&wd_kal, (float)(wd >> 8) + (float)(wd & 0xFF) / 256.0f);
  osMessageQueuePut(Kal_wdHandle, &wd_2, 0, 0);//放入消息队列
	sd_2=KalmanFilter_Update(&sd_kal,(float)(sd >> 8) + (float)(sd & 0xFF) / 256.0f);
  osMessageQueuePut(Kal_sdHandle, &sd_2, 0, 0);//放入消息队列
	tr_sd_2=KalmanFilter_Update(&tr_sd_kal,tr_sd);
  osMessageQueuePut(Kal_trsdHandle, &tr_sd_2, 0, 0);//放入消息队列
	gq_2=KalmanFilter_Update(&gq_kal,gq);
  osMessageQueuePut(Kal_gqHandle, &gq_2, 0, 0);//放入消息队列

	if(CO2>480)//等待预热完成
  {
		CO2_NO=1;
		/* CO2特殊处理 */
    // 1. 动�?�调整测量噪声（误差±5%读数�?
    CO2_kal.r = 2500.0f + 0.0025f * CO2_kal.x * CO2_kal.x;

    // 2. 强制不低�?400ppm
    float raw_CO2 = (CO2 < 400) ? 400.0f : (float)CO2;

    // 3. 动�?�过程噪声（根据变化率调整）
    static float last_CO2 = 400.0f;
    float change_rate = (float)fabs((double)(CO2_kal.x - last_CO2)) / 1.0f; // 假设1秒采样间�?
    CO2_kal.q = 5.0f + change_rate * 2.0f;
    last_CO2 = CO2_kal.x;

    // 4. 执行滤波
    CO2_2 = KalmanFilter_Update(&CO2_kal, raw_CO2);
    osMessageQueuePut(Kal_co2Handle, &CO2_2, 0, 0);//放入消息队列
	}
	else if(CO2_NO==0)
	{
	  CO2_2=CO2;
    osMessageQueuePut(Kal_co2Handle, &CO2_2, 0, 0);//放入消息队列
	}

}

/**
 * @description: 植物状�?�控制核心函�?
 * @note: 综合环境数据与互动状态，实现智能设备控制与拟人表情管�?
 * 算法特点�?
 * 1. 自�?�应阈�?�调整（基于历史数据�?
 * 2. 预测性控制（土壤湿度趋势预测�?
 * 3. 多因素协同决策（温度-CO2综合评分�?
 * 4. 状�?�持续时间加�?
 * 5. 表情平滑过渡管理
 */
void zw_zt_cl(float wd_2_z,float tr_sd_2_z,float gq_2_z,uint16_t CO2_2_z,uint8_t zt_fs)
{
    /*----------------------- 环境参数结构�? -----------------------*/
    // 使用结构体封装所有阈值参数和状�?�计时器，增强代码可维护�?
    static struct {
        float temp_high;        // 动�?�高温阈值（基于24小时历史数据�?
        float temp_low;         // 动�?�低温阈�?
        float soil_dry;         // 土壤干燥阈�?�（%�?
        float soil_wet;         // 土壤湿润阈�?�（%�?
        float light_low;        // 光照不足阈�?�（%�?
        float co2_high;         // CO2超标阈�?�（ppm�?
        uint32_t state_timer[6]; // 状�?�持续时间计数器[高温,干燥,CO2,低温,低光,正常]
    } env_threshold = {
        .temp_high = 32.0f,     // 初始默认�?(可修�?))
        .temp_low = 20.0f,
        .soil_dry = 25.0f,
        .soil_wet = 65.0f,
        .light_low = 55.0f,
        .co2_high = 1000.0f
    };

    /*----------------------- 状�?�跟踪变�? -----------------------*/
    static uint8_t last_expression = 0; // 上一次发送的表情ID(0表示初始状�??)
    uint8_t current_expression = 0;        // 当前计算的表情ID（默认待机表情）
    static uint32_t last_update = 0;       // 上次阈�?�更新时间戳（ms�?

    static uint8_t sb_num=0,bg_num=0,fs_num=0;
    /*----------------------- 自�?�应阈�?�系�? -----------------------*/
    // 温度历史数据窗口(30个周期（假设每隔3秒更新一次）
    static float temp_history[30] = {0};   // 环形缓冲区存储温度历�?
    static uint8_t history_index = 0;      // 当前写入位置索引

    // �?3秒更新一次温度历史并重新计算阈�??
    if(HAL_GetTick() - last_update > 3000) { // 3000ms = 3�?
			// 更新环形缓冲�?
        temp_history[history_index] = wd_2_z;
        history_index = (history_index + 1) % 24;

        // 计算目前位置索引+1(不超�?30个周�?)的平均温�?
        float temp_sum = 0;
			  uint8_t n=(history_index+1>60)?60:history_index+1;
			  for(int i=0; i<n;i++) temp_sum += temp_history[i];
        float temp_avg = temp_sum /n;

        // 动�?�调整阈值：平均值�?3�?
        env_threshold.temp_high = temp_avg + 3.0f;
        env_threshold.temp_low = temp_avg - 3.0f;

        last_update = HAL_GetTick(); // 更新时间�?
    }

    /*====================== 智能设备控制算法 ======================*/
    // 补光灯控制策略：动�?�迟滞光照控�?
    static float light_last = 0;           // 上一次光照�??
    float light_change_rate = fabs(gq_2_z - light_last); // 光照变化�?
    float light_hysteresis = light_change_rate > 5 ? 10:5; // 动�?�迟滞范�?

    // 控制逻辑：光照低于阈�?-迟滞时开启，高于阈�??+迟滞时关�?
    if(gq_2_z < (env_threshold.light_low - light_hysteresis))
		{
      bg_num = 1; // �?启补光灯
      osMessageQueuePut(zt_bgHandle, &bg_num, 0, 0);//放入消息队列--用于继电器控�?
    } else if(gq_2_z > (env_threshold.light_low + light_hysteresis))
		{
      bg_num = 0; // 关闭补光�?
      osMessageQueuePut(zt_bgHandle, &bg_num, 0, 0);//放入消息队列--用于继电器控�?
    }
    light_last = gq_2_z; // 保存当前光照�?

    //抽水机控制策略：带趋势预测的土壤湿度控制
    static float soil_history[3] = {0};    // �?�?3次土壤湿度记�?
    soil_history[2] = soil_history[1];     // 滚动更新历史数据
    soil_history[1] = soil_history[0];
    soil_history[0] = tr_sd_2_z;

    // 线�?�外推预测公式：X(n+1) = 3X(n) - 3X(n-1) + X(n-2)
    float soil_pred = 3*soil_history[0] - 3*soil_history[1] + soil_history[2];
    // 动�?�迟滞：预测干燥时扩大迟滞范围（防止频繁�?关）
    float soil_hysteresis = (soil_pred < env_threshold.soil_dry) ? 8.0f : 3.0f;

    if(tr_sd_2_z < (env_threshold.soil_dry - soil_hysteresis)) {
        sb_num = 1; // �?启抽水机
        osMessageQueuePut(zt_sbHandle, &sb_num, 0, 0);//放入消息队列--用于继电器控�?
        env_threshold.state_timer[1]++; // 干燥状�?�持续时�?+1
    } else if(tr_sd_2_z > (env_threshold.soil_dry + soil_hysteresis)) {
        sb_num = 0; // 关闭抽水�?
        osMessageQueuePut(zt_sbHandle, &sb_num, 0, 0);//放入消息队列--用于继电器控�?
        env_threshold.state_timer[1] = 0; // 重置干燥计时�?
    }

    // 风扇控制策略：温�?-CO2综合评分系统
    // 评分公式:0.6*(当前温度/高温阈�??) + 0.4*(当前CO2/CO2阈�??)
    float temp_co2_score = 0.6f*(wd_2_z/env_threshold.temp_high)
                         + 0.4f*(CO2_2_z/env_threshold.co2_high);

    if(temp_co2_score > 1.0f) { // 综合评分超过100%
        fs_num = 1; // �?启风�?
        osMessageQueuePut(zt_fsHandle, &fs_num, 0, 0);//放入消息队列--用于继电器控�?
        // 更新状�?�持续时间计数器
        env_threshold.state_timer[0]++; // 高温计时+1
        env_threshold.state_timer[2]++; // CO2计时+1
    } else {
        fs_num = 0; // 关闭风扇
        osMessageQueuePut(zt_fsHandle, &fs_num, 0, 0);//放入消息队列--用于继电器控�?
        env_threshold.state_timer[0] = 0; // 重置高温计时�?
        env_threshold.state_timer[2] = 0; // 重置CO2计时�?
    }

    /*====================== 智能表情决策系统 ======================*/
    // 状�?�权重计算（考虑持续时间和严重程度）
    float state_weights[6] = {0}; //------------------------------------------各状态权重[高温,干燥,CO2,低温,低光,正常] ------------------------------------------ //

    // 高温权重 = 是否超标 * (1 + 0.0001*持续时间)
    state_weights[0] = (wd_2_z > env_threshold.temp_high)
                     * (1 + 0.0001f*env_threshold.state_timer[0]);

    // 干燥权重 = 是否干燥 * (1 + 0.0005*持续时间)
    state_weights[1] = (tr_sd_2_z < env_threshold.soil_dry)
                     * (1 + 0.0005f*env_threshold.state_timer[1]);

    // CO2权重 = 是否超标 * (1 + 0.0008*持续时间)
    state_weights[2] = (CO2_2_z > env_threshold.co2_high)
                     * (1 + 0.0008f*env_threshold.state_timer[2]);

    // 低温权重（简单布尔�?�）
    state_weights[3] = (wd_2_z < env_threshold.temp_low)+0.01;

    // 低光权重（简单布尔�?�）
    state_weights[4] = (gq_2_z < env_threshold.light_low)+0.01;

    // 正常状�?�基�?权重
    state_weights[5] = 1.0f;

    // 确定�?高优先级状�??
    uint8_t max_index = 0; // 默认正常待机状�??
    for(int i=0; i<=5; i++) {
        if(state_weights[i] >= state_weights[max_index]) {
            max_index = i;
        }
    }
    /*----------------------- 表情映射逻辑 -----------------------*/
    switch(max_index) {
        case 0: // 高温状�??
            // 持续时间>10单位：生气，否则眩晕
            current_expression = (env_threshold.state_timer[0] > 30) ? 8 : 12;
            break;

        case 1: // 干燥状�??
            // 持续时间>5单位：哭泣，否则眩晕
            current_expression = (env_threshold.state_timer[1] > 30) ? 6 : 12;
            break;

        case 2: // CO2超标
            // CO2>1500ppm：眩晕，否则难过
            current_expression = (CO2_2 > 1500) ? 12 : 7;
            break;

        case 3: // 低温状�??
            current_expression = 4; // 害羞
            break;

        case 4: // 低光状�??
            current_expression = 11; // 休眠
            break;

        default: // 正常状�??
            if(gy_pos() || current_expression!=0) { // �?测到人体
                // 互动超时处理�??5秒切换表情）
                static uint32_t interact_timer = 0;
                if(HAL_GetTick() - interact_timer > 5000) {
									  xsp_fs("sleep", 0); // 保证屏幕为非睡眠状�??
                    current_expression = (current_expression == 0) ? 2:0; // 切换得意
                    interact_timer = HAL_GetTick();
                }
            }
    }

    /*----------------------- 表情输出管理和RGB灯控�?? -----------------------*/
    if(current_expression != last_expression) {
        // �??小间隔保护（3秒防抖动�??
        static uint32_t last_change = 0;
        if(HAL_GetTick() - last_change > 3000) {
					 if(yy_num==1)//语音模式下强制为识别语音的状�??
					 {
					  xsp_fs("num", 9); // 发�?�表情指�??
						current_expression=0;//默认语音下为白色灯效
					 }
					 else
					 {
            xsp_fs("num", current_expression); // 发�?�表情指�??
					 }

					 zt_fs=current_expression;//植物状�?�RGB灯映�??
				   osMessageQueuePut(zw_keyHandle, &zt_fs, 0, 0);//放入消息队列(传给发�?�串口函�??)

           last_expression = current_expression;
           last_change = HAL_GetTick(); // 记录�??后变更时�??
        }
    }
}

/**
 * @description:OLED显示界面函数
 */
void OLED_UI(void)
{

    OLED_Showdecimal(0,0, wd_2,2,2,16,0);
		OLED_Showdecimal(40,0, sd_2,2,2,16,0);
		OLED_Showdecimal(0,2,gq_2,2,2,16,0);
		OLED_Showdecimal(40,2,tr_sd_2,2,2,16,0);
		OLED_ShowNum(0,4,CO2_2,5,16,0);

		//OLED_ShowNum(0,6,tw_num[0],3,16,0);
		//OLED_ShowNum(30,6,tw_num[1],3,16,0);
	  OLED_ShowNum(0,6,sb_num_yy,3,16,0);
		OLED_ShowNum(30,6,fs_num_yy,3,16,0);
	  OLED_ShowNum(60,6,bg_num_yy,3,16,0);

    OLED_ShowNum(85,6,esp8266_key,1,16,0); //ESP8266连接标志�??
	  //OLED_ShowNum(0,6,HAL_GetTick(),8,16,0);

	  //OLED_ShowNum(64,6,time,8,16,0);

	  if(gy_pos())
		{
		 OLED_ShowNum(50,4,1,1,16,0);
		}
		else
		{
		 OLED_ShowNum(50,4,0,1,16,0 );
		}

		if(zd_pos())
		{
	 OLED_ShowNum(60,4,1,1,16,0);
		}
		else
		{
		 OLED_ShowNum(60,4,0,1,16,0 );
		}
}

/**
 * @description: 人体感应模块函数（返�?? 1有人�??0无人�??
 */
bool gy_pos(void)
{
  if(HAL_GPIO_ReadPin(GPIOE,GPIO_PIN_0))
	{
		return true;
	}
	else
	{
	  return false;
	}
}

/**
 * @description: 震动感应模块函数（返�?? 1有人�??0无人�??
 */
bool zd_pos(void)
{
  if(HAL_GPIO_ReadPin(GPIOE,GPIO_PIN_1))
	{
		return true;
	}
	else
	{
	  return false;
	}
}

/**
 * @description: 直接从字符串中提取字段的整数值（1�??0�??
 */
void extract_switch_value(const char *json_str, const char *field,uint8_t*num) {
    // 构�?�搜索模式（�?? "FanSwitch":"�??
    char pattern[32];
    snprintf(pattern, sizeof(pattern), "\"%s\":\"", field);

    // 查找字段位置
    const char *pos = strstr(json_str, pattern);
    if (!pos) // 字段不存�??
		{
		  return;
		}
    else
		{
			// 跳转到�?�的位置（跳�?? "FanSwitch":"�??
			pos += strlen(pattern);
			// 直接返回字符 '0' �?? '1' 对应的整数�??
			*num = ((*pos == '1') ? 1 : 0);
		}
}

/**
 * @description: 从环形缓冲区中提取完整JSON
 * @param buffer: 输出JSON的缓冲区
 * @param buffer_size: 缓冲区大�?
 * @return: 是否提取到完整JSON
 */
bool extract_json_from_buffer(char *buffer, size_t buffer_size)
{
    if (!esp8266_rx_buffer.message_ready) {
        return false;
    }

    // 找到�?近的JSON�?始位�? '{'
    uint16_t read_pos = esp8266_rx_buffer.head;
    bool found_start = false;
    uint16_t json_length = 0;
    uint16_t json_start = 0;
    uint8_t brace_count = 0;

    // 从最近接收的字符向前搜索
    while (read_pos != esp8266_rx_buffer.tail) {
        read_pos = (read_pos == 0) ? (UART_BUFFER_SIZE - 1) : (read_pos - 1);

        if (esp8266_rx_buffer.buffer[read_pos] == '}') {
            brace_count++;
        } else if (esp8266_rx_buffer.buffer[read_pos] == '{') {
            brace_count--;
            if (brace_count == 0) {
                // 找到完整的JSON�?始位�?
                json_start = read_pos;
                found_start = true;
                break;
            }
        }
    }

    if (!found_start) {
        return false;
    }

    // 复制JSON到输出缓冲区
    uint16_t read_idx = json_start;
    json_length = 0;

    while (read_idx != esp8266_rx_buffer.head && json_length < buffer_size - 1) {
        buffer[json_length++] = esp8266_rx_buffer.buffer[read_idx];
        read_idx = (read_idx + 1) % UART_BUFFER_SIZE;
    }

    // 添加结束�?
    buffer[json_length] = '\0';

    // 重置message_ready标志
    esp8266_rx_buffer.message_ready = false;

    // 更新tail指针，释放已处理数据
    esp8266_rx_buffer.tail = (esp8266_rx_buffer.head + 1) % UART_BUFFER_SIZE;

    return true;
}

/**
 * @description: 高效处理WiFi JSON数据
 * @param json_str: JSON数据字符�?
 * @return: 解析是否成功
 */
bool wifi_cl(char *json_str)
{
    // 1. �?查是否为包含有效控制命令的消�?
    if (!strstr(json_str, "params")) {
        esp8266_rx_buffer.head = 0;
        esp8266_rx_buffer.tail = 0;
        esp8266_rx_buffer.overflow = 0;
        esp8266_rx_buffer.message_ready = false;// 清空缓冲区状态（为新的状态做准备�?
        return false; // 不含params，可能是返回码消息，不处�?
    }

    bool value_changed = false;

    // 2. �?次扫描提取所有设备状�?

    // 查找水泵状�?? (IrrigationPumpStatus)
    char *pos = strstr(json_str, "\"IrrigationPumpStatus\":\"");
    if (pos != NULL) {
        pos += 24; // 跳过字段名和引号
        uint8_t new_value = (*pos == '1') ? 1 : 0;
        if (sb_num_yy != new_value) {
            sb_num_yy = new_value;
            value_changed = true;
        }
    }

    // 查找补光灯状�? (LightStatus)
    pos = strstr(json_str, "\"LightStatus\":\"");
    if (pos != NULL) {
        pos += 15; // 跳过字段名和引号
        uint8_t new_value = (*pos == '1') ? 1 : 0;
        if (bg_num_yy != new_value) {
            bg_num_yy = new_value;
            value_changed = true;
        }
    }

    // 查找风扇状�?? (FanSwitch)
    pos = strstr(json_str, "\"FanSwitch\":\"");
    if (pos != NULL) {
        pos += 13; // 跳过字段名和引号
        uint8_t new_value = (*pos == '1') ? 1 : 0;
        if (fs_num_yy != new_value) {
            fs_num_yy = new_value;
            value_changed = true;
        }
    }

    // 3. 只在值发生变化时执行后续操作
    if (value_changed) {
        yy_num2 = 1; // 远端控制优先级调�?

        // 将新状�?�写入消息队�?
        osMessageQueuePut(ESP8266_bgHandle, &bg_num_yy, 0, 0);
        osMessageQueuePut(ESP8266_sbHandle, &sb_num_yy, 0, 0);
        osMessageQueuePut(ESP8266_fsHandle, &fs_num_yy, 0, 0);

        esp8266_rx_buffer.head = 0;
        esp8266_rx_buffer.tail = 0;
        esp8266_rx_buffer.overflow = 0;
        esp8266_rx_buffer.message_ready = false;// 清空缓冲区状态（为新的状态做准备�?

        // 同步到云�?
        osMutexAcquire(esp8266_x_01Handle, osWaitForever);
        ESP8266_fs_Data2(sb_num_yy, bg_num_yy, fs_num_yy);
        osMutexRelease(esp8266_x_01Handle);
    }

    return value_changed;
}

/**
 * @description: 发�?�串口消�??(核心模块)
 * @param num:定时器计数器标志位（也是植物状�?�标志位�??
 * @param num2:植物状�?�的zhuangtai�??
 */
void ck_fs(uint8_t num)
{
    static uint8_t zt_fs2=0XFF;//植物状�?�码
    static uint32_t time_ST=0;//�?始定时器
    static bool esp_k=true;//ESP8266连接标志�?

    if(HAL_GetTick() - time_ST > 5000 && esp_k){//超过5秒未发�?�数�?
      osMutexAcquire(esp8266_x_01Handle, osWaitForever); // 上锁，确保串口发送互�?
      ESP8266_fs_Data(wd_2,(int)tr_sd_2,sd_2,CO2_2,(int)gq_2);
      osMutexRelease(esp8266_x_01Handle);// 解锁
      esp_k=false;//关闭esp8266发�??
    }
    if(HAL_GetTick() - time_ST > 10000) // 超过10秒发送一次数�?
    {
      tw_cl2();
      esp_k=true;//允许esp8266发�??
      time_ST = HAL_GetTick();//重新计时
    }

		if(num!=zt_fs2)
		{
			    zt_fs2=num;//判断命令有否改变
		      tw_fs[0]=0x00;
			    tw_fs[1]=0x00;
			    tw_fs[2]=0x00;
					tw_fs[3]=0x00;
					tw_fs[4]=0x00;
					tw_fs[5]=0x00;
					tw_fs[6]=0x00;
					tw_fs[7]=0x00;
				  tw_fs[8]=0xFA;
					tw_fs[9]=num;//植物状�?�码
					HAL_UART_Transmit_IT(&huart3, tw_fs, 10);
		}
}

/**
 * @description: 天问模块字符串接受处�??
 */
void tw_cl(char*tw)
{
   static uint8_t tw_bz=0;//天问模块标志�??
   if((uint8_t)tw[0]==0xFF && (uint8_t)tw[2]==0x00)
	 {
		 if((uint8_t)tw[1]<0x07)//指令集判�??
	   {
		   tw_bz=(uint8_t)tw[1];
       osMessageQueuePut(tw_keyHandle, &tw_bz, 0, 0);//放入消息队列----用于天问模块控制
		 }
		 else
		 {
			 yy_num=(uint8_t)tw[1]==0x07?1:0;
		 }
	 }
	 else
	 {
	   tw_bz=0;
     osMessageQueuePut(tw_keyHandle, &tw_bz, 0, 0);//放入消息队列----用于天问模块控制
	 }
	  memset(tw_num, 0, sizeof(tw_num));
}
/**
 * @description: 天问模块字符串发送处�??
 */
void tw_cl2(void)
{
	  tw_fs[0]=0xFE;
	  tw_fs[1]=((uint16_t)wd_2 >> 8) & 0xFF;
	  tw_fs[2]=0xFD;
	  tw_fs[3]=((uint16_t)sd_2 >> 8) & 0xFF;
	  tw_fs[4]=0xFC;
	  tw_fs[5]=(int)gq_2 & 0xFF;
	  tw_fs[6]=0xFB;
	  tw_fs[7]=(int)tr_sd_2 & 0xFF;
	  tw_fs[8]=0x00;
	  tw_fs[9]=0x00;
    HAL_UART_Transmit_IT(&huart3, tw_fs, 10);
}
/**
 * @description: 天问模块控制函数(核心模块)
 */
void tw_kz(uint8_t* tw)
{
   switch(*tw)
	 {
	   case 1:
		 {
		   bg_num_yy=1;
			 if(sb_num_yy!=sb_num_yy2 || bg_num_yy!=bg_num_yy2 || fs_num_yy!=fs_num_yy2)//判断标志位是否改�??
			{
			 yy_num2=1;//优先级更�??
       osMessageQueuePut(tw_bgHandle, &bg_num_yy, 0, 0);//放入消息队列----用于继电器控制（天问模块控制�??

       osMutexAcquire(esp8266_x_01Handle, osWaitForever); // 上锁，确保串口发送互�?
			 ESP8266_fs_Data2(sb_num_yy,bg_num_yy,fs_num_yy);
       osMutexRelease(esp8266_x_01Handle);// 解锁
			 *tw=0;
			}
			 break;
		 }
		 case 2:
		 {
		   bg_num_yy=0;
			 if(sb_num_yy!=sb_num_yy2 || bg_num_yy!=bg_num_yy2 || fs_num_yy!=fs_num_yy2)//判断标志位是否改�??
			{
			 yy_num2=1;//优先级更�??
       osMessageQueuePut(tw_bgHandle, &bg_num_yy, 0, 0);//放入消息队列----用于继电器控制（天问模块控制�??

       osMutexAcquire(esp8266_x_01Handle, osWaitForever); // 上锁，确保串口发送互�?
			 ESP8266_fs_Data2(sb_num_yy,bg_num_yy,fs_num_yy);
       osMutexRelease(esp8266_x_01Handle);// 解锁

			 *tw=0;
			}
			 break;
		 }
		 case 3:
		 {
		   fs_num_yy=1;
			 if(sb_num_yy!=sb_num_yy2 || bg_num_yy!=bg_num_yy2 || fs_num_yy!=fs_num_yy2)//判断标志位是否改�??
			{
			 yy_num2=1;//优先级更�??
       osMessageQueuePut(tw_fsHandle, &fs_num_yy, 0, 0);//放入消息队列----用于继电器控制（天问模块控制�??

       osMutexAcquire(esp8266_x_01Handle, osWaitForever); // 上锁，确保串口发送互�?
			 ESP8266_fs_Data2(sb_num_yy,bg_num_yy,fs_num_yy);
        osMutexRelease(esp8266_x_01Handle);// 解锁

			 *tw=0;
			}
			 break;
		 }
		 case 4:
		 {
		   fs_num_yy=0;
			  if(sb_num_yy!=sb_num_yy2 || bg_num_yy!=bg_num_yy2 || fs_num_yy!=fs_num_yy2)//判断标志位是否改�??
			{
			 yy_num2=1;//优先级更�??
       osMessageQueuePut(tw_fsHandle, &fs_num_yy, 0, 0);//放入消息队列----用于继电器控制（天问模块控制�??

       osMutexAcquire(esp8266_x_01Handle, osWaitForever); // 上锁，确保串口发送互�?
			 ESP8266_fs_Data2(sb_num_yy,bg_num_yy,fs_num_yy);
       osMutexRelease(esp8266_x_01Handle);// 解锁

			 *tw=0;
			}
			 break;
		 }
		 case 5:
		 {
		   sb_num_yy=1;
			 if(sb_num_yy!=sb_num_yy2 || bg_num_yy!=bg_num_yy2 || fs_num_yy!=fs_num_yy2)//判断标志位是否改�??
			{
			yy_num2=1;//优先级更�??
       osMessageQueuePut(tw_sbHandle, &sb_num_yy, 0, 0);//放入消息队列----用于继电器控制（天问模块控制�??
       osMutexAcquire(esp8266_x_01Handle, osWaitForever); // 上锁，确保串口发送互�?
			 ESP8266_fs_Data2(sb_num_yy,bg_num_yy,fs_num_yy);
       osMutexRelease(esp8266_x_01Handle);// 解锁
			 *tw=0;
			}
			 break;
		 }
		 case 6:
		 {
		   sb_num_yy=0;
			 if(sb_num_yy!=sb_num_yy2 || bg_num_yy!=bg_num_yy2 || fs_num_yy!=fs_num_yy2)//判断标志位是否改�??
			{
			 yy_num2=1;//优先级更�??
       osMessageQueuePut(tw_sbHandle, &sb_num_yy, 0, 0);//放入消息队列----用于继电器控制（天问模块控制�??
       osMutexAcquire(esp8266_x_01Handle, osWaitForever); // 上锁，确保串口发送互�?
			 ESP8266_fs_Data2(sb_num_yy,bg_num_yy,fs_num_yy);
       osMutexRelease(esp8266_x_01Handle);// 解锁
			 *tw=0;
			}
			 break;
		 }
	 }
}

//----------------------------------------------------------------------------------------------------------------↑函数区�??------------------------------------------------------------------------------------------------------------------

/* USER CODE END Application */
